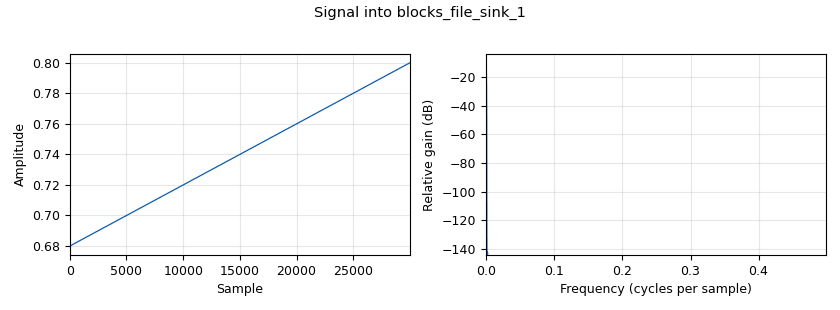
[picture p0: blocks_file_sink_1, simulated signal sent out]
<?xml version='1.0' encoding='utf-8'?>
<?grc format='1' created='3.7.12'?>
<flow_graph>
<block>
<key>options</key>
<param><key>id</key><value>gr_chirp_f</value></param>
<param><key>generate_options</key><value>no_gui</value></param>
<param><key>run_options</key><value>run</value></param>
</block>
<block>
<key>variable</key>
<param><key>id</key><value>freq</value></param>
<param><key>value</key><value>115000</value></param>
</block>
<block>
<key>variable</key>
<param><key>id</key><value>npulses</value></param>
<param><key>value</key><value>2</value></param>
</block>
<block>
<key>variable</key>
<param><key>id</key><value>pi_val</value></param>
<param><key>value</key><value>3.14159265359</value></param>
</block>
<block>
<key>variable</key>
<param><key>id</key><value>post_padding</value></param>
<param><key>value</key><value>0</value></param>
</block>
<block>
<key>variable</key>
<param><key>id</key><value>pre_padding</value></param>
<param><key>value</key><value>samp_rate</value></param>
</block>
<block>
<key>variable</key>
<param><key>id</key><value>samp_rate</value></param>
<param><key>value</key><value>250000</value></param>
</block>
<block>
<key>variable</key>
<param><key>id</key><value>sens</value></param>
<param><key>value</key><value>2*pi_val*freq</value></param>
</block>
<block>
<key>variable</key>
<param><key>id</key><value>sig_off_samples</value></param>
<param><key>value</key><value>samp_rate</value></param>
</block>
<block>
<key>variable</key>
<param><key>id</key><value>sig_on_samples</value></param>
<param><key>value</key><value>samp_rate</value></param>
</block>
<block>
<key>analog_const_source_x</key>
<param><key>id</key><value>analog_const_source_x_0</value></param>
<param><key>const</key><value>1</value></param>
<param><key>_enabled</key><value>0</value></param>
<param><key>type</key><value>float</value></param>
</block>
<block>
<key>analog_sig_source_x</key>
<param><key>id</key><value>analog_sig_source_x_0</value></param>
<param><key>amp</key><value>1</value></param>
<param><key>freq</key><value>1</value></param>
<param><key>offset</key><value>0</value></param>
<param><key>type</key><value>float</value></param>
<param><key>samp_rate</key><value>samp_rate</value></param>
<param><key>waveform</key><value>analog.GR_SAW_WAVE</value></param>
</block>
<block>
<key>blocks_delay</key>
<param><key>id</key><value>blocks_delay_0</value></param>
<param><key>delay</key><value>samp_rate/2</value></param>
<param><key>type</key><value>float</value></param>
</block>
<block>
<key>blocks_file_sink</key>
<param><key>id</key><value>blocks_file_sink_0</value></param>
<param><key>file</key><value>/Users/fmagno/projs/sipLab/2019_oceantech/campaigns/2019.04.15/dsp_ws/chirp.dat</value></param>
<param><key>type</key><value>float</value></param>
</block>
<block>
<key>blocks_file_sink</key>
<param><key>id</key><value>blocks_file_sink_1</value></param>
<param><key>file</key><value>/Users/fmagno/projs/sipLab/2019_oceantech/campaigns/2019.04.15/dsp_ws/saw.dat</value></param>
<param><key>type</key><value>float</value></param>
</block>
<block>
<key>blocks_multiply_xx</key>
<param><key>id</key><value>blocks_multiply_xx_0</value></param>
<param><key>type</key><value>float</value></param>
</block>
<block>
<key>blocks_throttle</key>
<param><key>id</key><value>blocks_throttle_0</value></param>
<param><key>samples_per_second</key><value>samp_rate</value></param>
<param><key>type</key><value>float</value></param>
</block>
<block>
<key>blocks_vco_f</key>
<param><key>id</key><value>blocks_vco_f_0</value></param>
<param><key>amplitude</key><value>1</value></param>
<param><key>samp_rate</key><value>samp_rate</value></param>
<param><key>sensitivity</key><value>sens</value></param>
</block>
<block>
<key>blocks_vector_source_x</key>
<param><key>id</key><value>blocks_vector_source_x_0</value></param>
<param><key>type</key><value>float</value></param>
<param><key>repeat</key><value>False</value></param>
<param><key>vector</key><value>[0]*pre_padding + ([1]*sig_on_samples + [0]*sig_off_samples)*npulses + [0]*post_padding</value></param>
</block>
<connection><source_block_id>analog_const_source_x_0</source_block_id><sink_block_id>blocks_throttle_0</sink_block_id><source_key>0</source_key><sink_key>0</sink_key></connection>
<connection><source_block_id>analog_sig_source_x_0</source_block_id><sink_block_id>blocks_delay_0</sink_block_id><source_key>0</source_key><sink_key>0</sink_key></connection>
<connection><source_block_id>blocks_delay_0</source_block_id><sink_block_id>blocks_file_sink_1</sink_block_id><source_key>0</source_key><sink_key>0</sink_key></connection>
<connection><source_block_id>blocks_delay_0</source_block_id><sink_block_id>blocks_throttle_0</sink_block_id><source_key>0</source_key><sink_key>0</sink_key></connection>
<connection><source_block_id>blocks_multiply_xx_0</source_block_id><sink_block_id>blocks_file_sink_0</sink_block_id><source_key>0</source_key><sink_key>0</sink_key></connection>
<connection><source_block_id>blocks_throttle_0</source_block_id><sink_block_id>blocks_vco_f_0</sink_block_id><source_key>0</source_key><sink_key>0</sink_key></connection>
<connection><source_block_id>blocks_vco_f_0</source_block_id><sink_block_id>blocks_multiply_xx_0</sink_block_id><source_key>0</source_key><sink_key>0</sink_key></connection>
<connection><source_block_id>blocks_vector_source_x_0</source_block_id><sink_block_id>blocks_multiply_xx_0</sink_block_id><source_key>0</source_key><sink_key>1</sink_key></connection>
</flow_graph>
